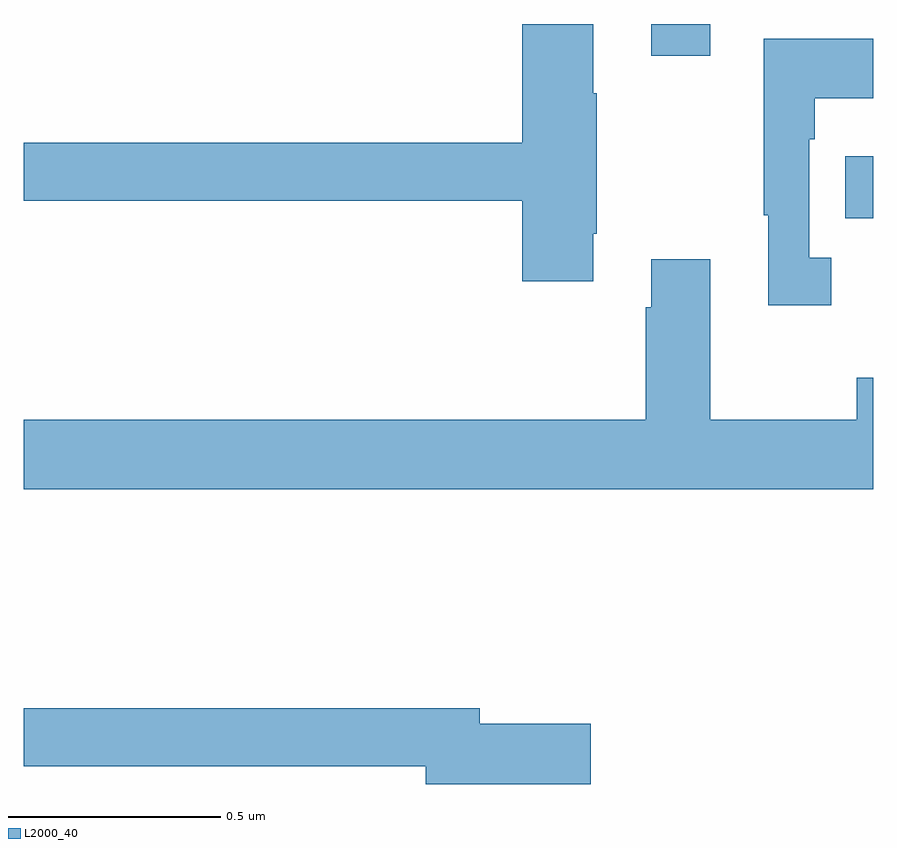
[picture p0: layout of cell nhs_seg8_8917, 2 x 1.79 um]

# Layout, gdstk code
import gdstk
lib = gdstk.Library(unit=1e-6, precision=1e-09)
def R(c, l, rs):  # rectangles x0, y0, x1, y1
    for r in rs: c.add(gdstk.rectangle(r[:2], r[2:], *l))
def P(c, l, *ps):  # polygons
    for p in ps: c.add(gdstk.Polygon(p, *l))
L2000_40 = (2000, 40)

nhs_seg8_8917 = lib.new_cell('nhs_seg8_8917')
R(nhs_seg8_8917, L2000_40, [(230.935,1146.442,231,1146.589), (230.477,1146.825,230.617,1146.9)])
P(nhs_seg8_8917, L2000_40, [(230.341,1146.406),(230.349,1146.406),(230.349,1146.737),(230.341,1146.737),(230.341,1146.9),(230.174,1146.9),(230.174,1146.62),(229,1146.62),(229,1146.484),(230.174,1146.484),(230.174,1146.294),(230.341,1146.294)],
  [(230.902,1146.35),(230.85,1146.35),(230.85,1146.629),(230.863,1146.629),(230.863,1146.725),(231,1146.725),(231,1146.865),(230.742,1146.865),(230.742,1146.449),(230.753,1146.449),(230.753,1146.237),(230.902,1146.237)],
  [(231,1146.067),(230.962,1146.067),(230.962,1145.968),(230.617,1145.968),(230.617,1146.346),(230.477,1146.346),(230.477,1146.233),(230.465,1146.233),(230.465,1145.968),(229,1145.968),(229,1145.804),(231,1145.804)],
  [(230.335,1145.252),(230.074,1145.252),(230.074,1145.288),(229,1145.288),(229,1145.152),(229.946,1145.152),(229.946,1145.11),(230.335,1145.11)])

lib.write_gds('nhs_seg8_8917.gds')
